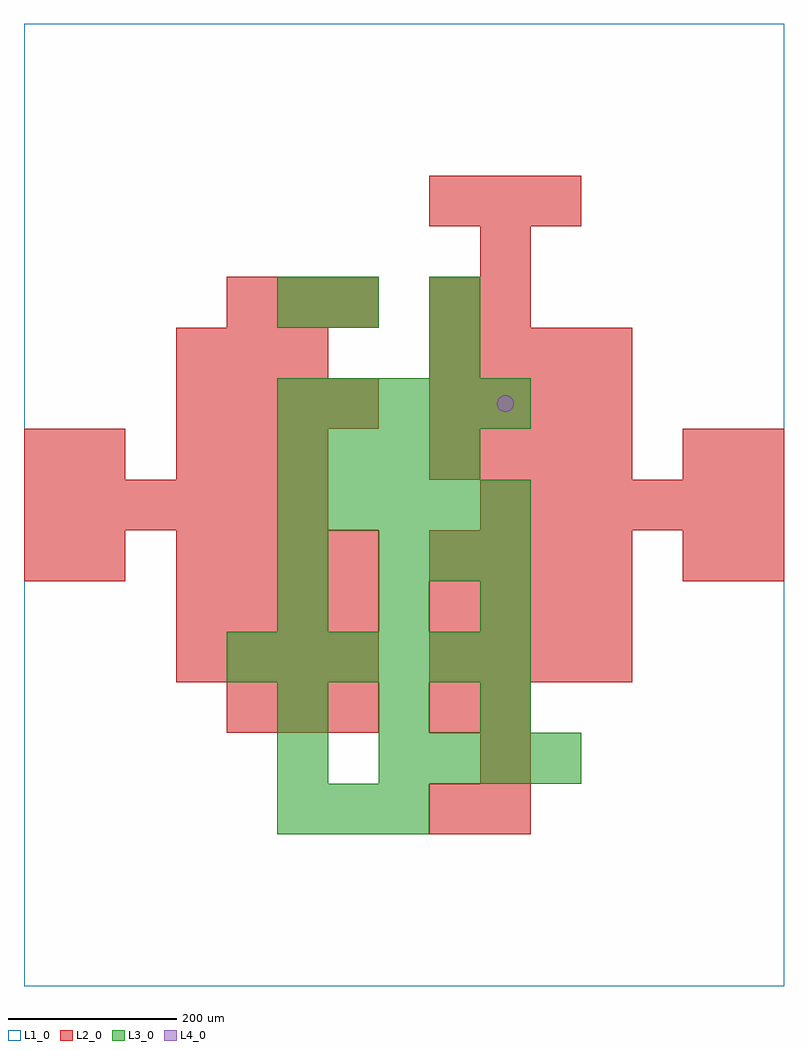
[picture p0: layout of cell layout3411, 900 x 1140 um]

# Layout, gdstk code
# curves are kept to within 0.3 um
import gdstk
lib = gdstk.Library(unit=1e-6, precision=1e-09)
def R(c, l, rs):  # rectangles x0, y0, x1, y1
    for r in rs: c.add(gdstk.rectangle(r[:2], r[2:], *l))
def A(c, l, x, y, w, h, nx, ny, dx, dy):  # array of equal rectangles
    R(c, l, [(x+i*dx, y+j*dy, x+i*dx+w, y+j*dy+h) for i in range(nx) for j in range(ny)])
def P(c, l, *ps):  # polygons
    for p in ps: c.add(gdstk.Polygon(p, *l))
L1_0 = (1, 0)
L2_0 = (2, 0)
L3_0 = (3, 0)
L4_0 = (4, 0)

layout3411 = lib.new_cell('layout3411')
R(layout3411, L1_0, [(0,0,900,1140)])
A(layout3411, L2_0, 540, 180, 60, 60, 1, 3, 0, 60)
A(layout3411, L2_0, 240, 300, 60, 60, 3, 2, 60, 480)
A(layout3411, L2_0, 180, 360, 60, 60, 4, 3, 60, 60)
A(layout3411, L2_0, 480, 360, 60, 60, 4, 3, 60, 60)
A(layout3411, L2_0, 0, 540, 60, 60, 6, 1, 60, 0)
A(layout3411, L2_0, 540, 540, 60, 60, 6, 1, 60, 0)
A(layout3411, L2_0, 180, 600, 60, 60, 3, 2, 60, 120)
A(layout3411, L2_0, 480, 600, 60, 60, 4, 3, 60, 60)
A(layout3411, L2_0, 180, 660, 60, 60, 4, 1, 60, 0)
A(layout3411, L2_0, 480, 900, 60, 60, 3, 1, 60, 0)
R(layout3411, L2_0, [(480,180,540,240), (480,300,540,360), (0,480,60,540), (60,480,120,540), (780,480,840,540), (840,480,900,540), (0,600,60,660), (60,600,120,660), (780,600,840,660), (840,600,900,660), (480,780,540,840), (540,780,600,840), (540,840,600,900)])
A(layout3411, L3_0, 300, 180, 60, 60, 3, 1, 60, 0)
A(layout3411, L3_0, 420, 240, 60, 60, 4, 1, 60, 0)
A(layout3411, L3_0, 300, 300, 60, 60, 3, 2, 120, 120)
A(layout3411, L3_0, 240, 360, 60, 60, 6, 1, 60, 0)
A(layout3411, L3_0, 420, 480, 60, 60, 3, 1, 60, 0)
A(layout3411, L3_0, 300, 540, 60, 60, 5, 2, 60, 120)
A(layout3411, L3_0, 300, 600, 60, 60, 4, 1, 60, 0)
R(layout3411, L3_0, [(300,240,360,300), (300,480,360,540), (480,720,540,780), (300,780,360,840), (360,780,420,840), (480,780,540,840)])
P(layout3411, L4_0, [(580,690),(579.239,693.827),(577.071,697.071),(573.827,699.239),(570,700),(566.173,699.239),(562.929,697.071),(560.761,693.827),(560,690),(560.761,686.173),(562.929,682.929),(566.173,680.761),(570,680),(573.827,680.761),(577.071,682.929),(579.239,686.173)])

lib.write_gds('layout3411.gds')
